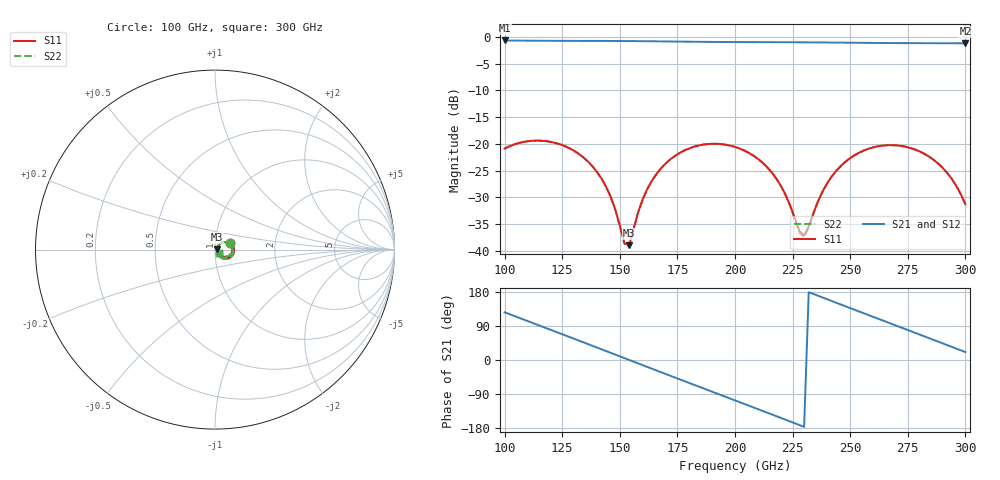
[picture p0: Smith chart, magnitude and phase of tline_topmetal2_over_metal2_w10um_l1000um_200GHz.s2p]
#  GHZ S DB R 50
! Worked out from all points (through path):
!   101 points, 100 GHz to 300 GHz, reference 50 ohm
!   highest |S21| = -0.67 dB at 100 GHz (marker M1); lowest = -1.2 dB at 300 GHz (marker M2)
!   group delay of S21, straight-line fit = 6.46 ps
!   lowest |S11| = -39.0 dB at 154 GHz (marker M3), VSWR 1.02, Z = 51.1 + j0.254 ohm
!   |S11| at or under -10 dB: start of sweep to end of sweep
!   |S22| runs from -39.2 to -19.4 dB; largest |S21 - S12| = 1.6e-12
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100  -20.90 25.3  -0.67 125.9  -0.67 125.9  -20.90 25.2
116  -19.43 -7.5  -0.73 88.8  -0.73 88.8  -19.42 -7.7
124  -20.09 -23.9  -0.74 70.3  -0.74 70.3  -20.09 -24.1
134  -22.48 -43.5  -0.75 47.1  -0.75 47.1  -22.48 -43.8
144  -27.99 -58.1  -0.76 23.7  -0.76 23.7  -28.00 -58.6
152  -38.60 -26.2  -0.78 5.0  -0.78 5.0  -38.73 -27.0
154  -38.99 12.8  -0.78 0.3  -0.78 0.3  -39.15 12.7
160  -30.33 50.6  -0.81 -13.7  -0.81 -13.7  -30.35 50.7
168  -24.53 43.3  -0.85 -32.4  -0.85 -32.4  -24.54 43.2
184  -20.34 13.2  -0.92 -69.6  -0.92 -69.6  -20.34 12.9
200  -20.59 -18.7  -0.97 -106.6  -0.97 -106.6  -20.59 -19.1
216  -25.38 -46.2  -0.99 -143.7  -0.99 -143.7  -25.40 -46.9
230  -37.13 5.3  -1.02 -176.4  -1.02 -176.4  -37.49 5.3
234  -33.01 41.8  -1.03 174.3  -1.03 174.3  -33.14 42.7
240  -27.38 48.1  -1.05 160.3  -1.05 160.3  -27.42 48.6
248  -23.33 38.1  -1.09 141.6  -1.09 141.6  -23.35 38.2
258  -20.91 19.8  -1.13 118.4  -1.13 118.4  -20.92 19.8
268  -20.25 0.1  -1.16 95.3  -1.16 95.3  -20.26 0.1
276  -20.77 -15.6  -1.17 76.7  -1.17 76.7  -20.78 -15.6
286  -22.93 -34.0  -1.19 53.5  -1.19 53.5  -22.94 -34.0
294  -26.51 -45.0  -1.20 34.9  -1.20 34.9  -26.51 -44.8
300  -31.32 -43.6  -1.21 20.9  -1.21 20.9  -31.28 -43.1
